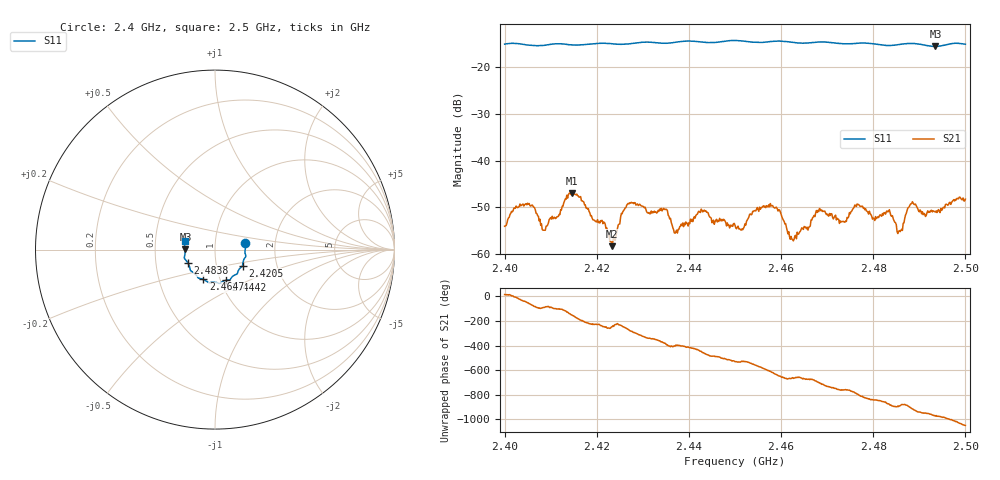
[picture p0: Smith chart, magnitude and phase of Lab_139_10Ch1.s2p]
# Hz S RI R 50
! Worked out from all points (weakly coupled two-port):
!   601 points, 2.4 GHz to 2.5 GHz, reference 50 ohm
!   highest |S21| = -46.90 dB at 2.4147 GHz (marker M1); lowest = -58.3 dB at 2.4233 GHz (marker M2)
!   lowest |S11| = -15.7 dB at 2.4935 GHz (marker M3), VSWR 1.39, Z = 35.9 + j0.0942 ohm
!   |S11| at or under -10 dB: start of sweep to end of sweep
!   S12 and S22 are empty: the file has one direction only
!   S11 on the Smith chart (normalised r, x): 2.4 GHz: 1.40, +0.11; 2.4205 GHz: 1.34, -0.25; 2.4442 GHz: 1.06, -0.37; 2.4647 GHz: 0.83, -0.29; 2.4838 GHz: 0.73, -0.11; 2.5 GHz: 0.71, +0.07
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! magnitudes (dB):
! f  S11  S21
! 2.4 GHz  -15.2  -54.0
! 2.4048 GHz  -15.3  -49.4
! 2.4087 GHz  -15.4  -54.9
! 2.4147 GHz  -15.4  -46.9
! 2.4167 GHz  -15.3  -48.6
! 2.4205 GHz  -15.0  -53.0
! 2.4233 GHz  -15.1  -58.3
! 2.427 GHz  -15.1  -49.2
! 2.4333 GHz  -14.9  -50.6
! 2.4372 GHz  -14.8  -55.2
! 2.4442 GHz  -14.9  -51.2
! 2.45 GHz  -14.4  -53.8
! 2.4577 GHz  -14.6  -49.2
! 2.4623 GHz  -14.8  -56.8
! 2.4647 GHz  -15.0  -54.5
! 2.4667 GHz  -14.9  -52.7
! 2.4833 GHz  -15.5  -50.8
! 2.4838 GHz  -15.5  -51.7
! 2.4857 GHz  -15.3  -54.9
! 2.4883 GHz  -15.0  -49.2
! 2.4935 GHz  -15.7  -51.0
! 2.5 GHz  -15.2  -48.2
